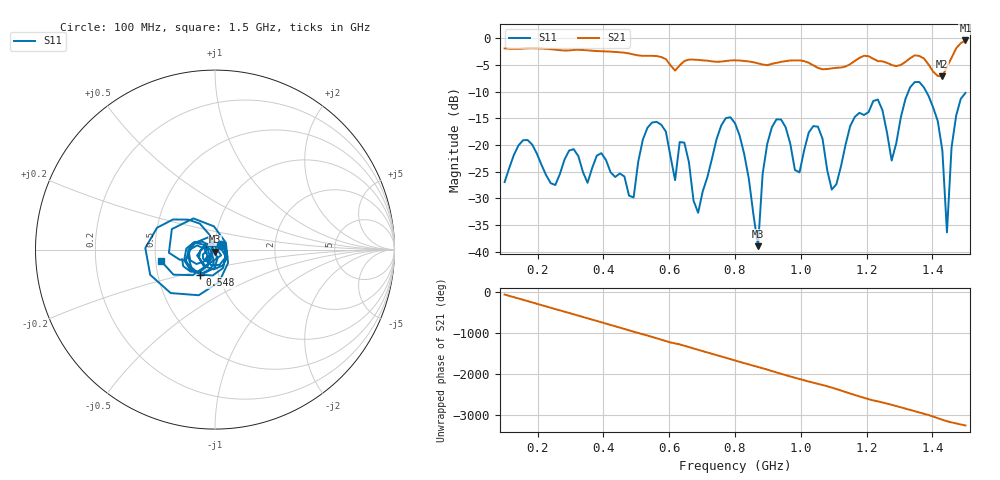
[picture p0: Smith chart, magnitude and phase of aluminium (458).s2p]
! NanoVNA-App
! Date: 2025-09-25 14:58:51
! Start: 100MHz Stop: 1,5GHz Points: 101
! S-Parameter data: F S11 S21 S12 S22
# Hz S RI R 50
!  Frequency  S11_Real  S11_Imag  S21_Real  S21_Imag  S12_Real  S12_Imag  S22_Real  S22_Imag
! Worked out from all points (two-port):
!   101 points, 100 MHz to 1.5 GHz, reference 50 ohm
!   highest |S21| = -0.44 dB at 1.5 GHz (marker M1); lowest = -7.2 dB at 1.43 GHz (marker M2)
!   |S21| within 3 dB of the highest: start of sweep to 568.4 MHz; 1.46 GHz to end of sweep (the widest 2 of 4)
!   lowest |S11| = -38.9 dB at 870 MHz (marker M3), VSWR 1.02, Z = 50.2 - j1.12 ohm
!   |S11| at or under -10 dB: start of sweep to 1.327 GHz; 1.381 GHz to end of sweep
!   S12 and S22 are empty: the file has one direction only
!   S11 on the Smith chart (normalised r, x): 100 MHz: 1.07, +0.06; 548 MHz: 0.82, -0.24; 1.5 GHz: 0.53, -0.08
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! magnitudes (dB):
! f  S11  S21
! 100 MHz  -27.0  -1.9
! 156 MHz  -19.1  -2.0
! 338 MHz  -25.1  -2.2
! 492 MHz  -29.8  -3.1
! 548 MHz  -15.8  -3.3
! 576 MHz  -16.2  -3.5
! 618 MHz  -26.6  -6.1
! 646 MHz  -19.6  -4.3
! 688 MHz  -32.7  -4.1
! 800 MHz  -15.9  -4.2
! 870 MHz  -38.9  -4.7
! 912 MHz  -16.7  -4.8
! 996 MHz  -25.1  -4.2
! 1.038 GHz  -16.5  -5.1
! 1.094 GHz  -28.4  -5.7
! 1.22 GHz  -11.8  -3.9
! 1.276 GHz  -22.9  -5.0
! 1.346 GHz  -8.2  -3.2
! 1.43 GHz  -21.0  -7.2
! 1.444 GHz  -36.4  -5.4
! 1.458 GHz  -20.4  -3.7
! 1.5 GHz  -10.3  -0.4
